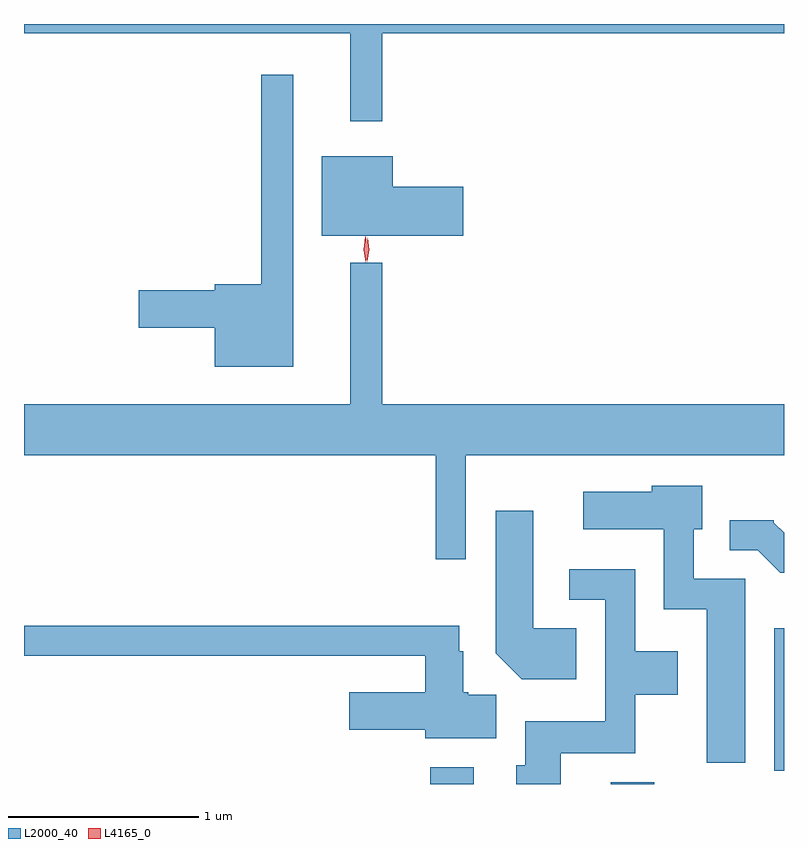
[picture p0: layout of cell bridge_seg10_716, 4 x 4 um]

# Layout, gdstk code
import gdstk
lib = gdstk.Library(unit=1e-6, precision=1e-09)
def R(c, l, rs):  # rectangles x0, y0, x1, y1
    for r in rs: c.add(gdstk.rectangle(r[:2], r[2:], *l))
def P(c, l, *ps):  # polygons
    for p in ps: c.add(gdstk.Polygon(p, *l))
L2000_40 = (2000, 40)
L4165_0 = (4165, 0)

bridge_seg10_716 = lib.new_cell('bridge_seg10_716')
R(bridge_seg10_716, L2000_40, [(920.541,2112.185,920.769,2112.274), (921.491,2112.185,921.719,2112.194), (922.351,2112.256,922.403,2113.004)])
P(bridge_seg10_716, L2000_40, [(920.289,2116.136),(922.403,2116.136),(922.403,2116.185),(918.403,2116.185),(918.403,2116.136),(920.121,2116.136),(920.121,2115.673),(920.289,2115.673)],
  [(919.819,2115.918),(919.651,2115.918),(919.651,2114.814),(919.406,2114.814),(919.406,2114.784),(919.006,2114.784),(919.006,2114.586),(919.406,2114.586),(919.406,2114.381),(919.819,2114.381)],
  [(920.714,2115.329),(920.344,2115.329),(920.344,2115.489),(919.971,2115.489),(919.971,2115.071),(920.714,2115.071)],
  [(920.729,2113.916),(922.403,2113.916),(922.403,2114.184),(920.289,2114.184),(920.289,2114.928),(920.121,2114.928),(920.121,2114.184),(918.403,2114.184),(918.403,2113.916),(920.571,2113.916),(920.571,2113.368),(920.729,2113.368)],
  [(922.199,2113.264),(921.929,2113.264),(921.929,2113.526),(921.974,2113.526),(921.974,2113.754),(921.706,2113.754),(921.706,2113.724),(921.346,2113.724),(921.346,2113.526),(921.771,2113.526),(921.771,2113.106),(921.996,2113.106),(921.996,2112.296),(922.199,2112.296)],
  [(921.309,2113.004),(921.084,2113.004),(921.084,2113.624),(920.886,2113.624),(920.886,2112.874),(921.024,2112.736),(921.309,2112.736)],
  [(922.403,2113.508),(922.35,2113.561),(922.35,2113.574),(922.118,2113.574),(922.118,2113.416),(922.264,2113.416),(922.384,2113.296),(922.403,2113.296)],
  [(921.229,2112.346),(921.619,2112.346),(921.619,2112.656),(921.844,2112.656),(921.844,2112.884),(921.619,2112.884),(921.619,2113.314),(921.273,2113.314),(921.273,2113.156),(921.461,2113.156),(921.461,2112.514),(921.041,2112.514),(921.041,2112.284),(920.993,2112.284),(920.993,2112.185),(921.229,2112.185)],
  [(920.889,2112.654),(920.74,2112.654),(920.74,2112.669),(920.714,2112.669),(920.714,2112.884),(920.694,2112.884),(920.694,2113.019),(918.403,2113.019),(918.403,2112.861),(920.516,2112.861),(920.516,2112.669),(920.116,2112.669),(920.116,2112.471),(920.516,2112.471),(920.516,2112.426),(920.889,2112.426)])
P(bridge_seg10_716, L4165_0, [(920.21,2114.933),(920.209,2114.934),(920.201,2114.996),(920.211,2115.059),(920.211,2115.06),(920.212,2115.059),(920.22,2114.996),(920.21,2114.934)],
  [(920.201,2114.93),(920.191,2114.998),(920.2,2115.066),(920.201,2115.066),(920.201,2115.066),(920.211,2114.998),(920.202,2114.93),(920.202,2114.93)])

lib.write_gds('bridge_seg10_716.gds')
